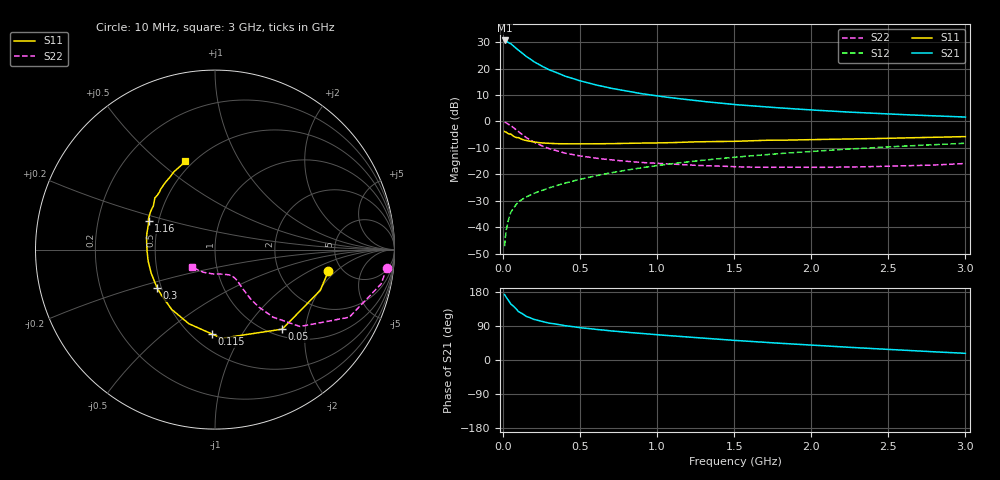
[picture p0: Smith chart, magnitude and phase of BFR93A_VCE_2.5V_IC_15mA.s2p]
! Infineon Technologies  Discrete & RF Semiconductors
! BFR93A
! VCE =  2.5 V,  IC =  15 mA
! Common Emitter S-Parameters:  Nov 2015
# GHz  S  MA  R  50
!  f  S11  S21  S12  S22
! GHz  MAG  ANG  MAG  ANG  MAG  ANG  MAG  ANG
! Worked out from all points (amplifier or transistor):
!   180 points, 10 MHz to 3 GHz, reference 50 ohm
!   highest |S21| = 30.6 dB at 10 MHz (marker M1)
!   |S21| within 3 dB of that: start of sweep to 85.5 MHz
!   unconditionally stable (mu >= 1): 471.2 MHz to 2.986 GHz
!   at 160 MHz: K = 0.63, MSG = 26.2 dB, |S12| = -28.2 dB
!   at 1.22 GHz: K = 1.09, MAG = 9.8 dB, |S12| = -15.1 dB
!   at 3 GHz: K = 1.00, MSG = 5.0 dB, |S12| = -8.3 dB
!   S11 on the Smith chart (normalised r, x): 10 MHz: 3.92, -1.59; 50 MHz: 1.13, -1.51; 115 MHz: 0.62, -0.75; 300 MHz: 0.47, -0.24; 1.16 GHz: 0.44, +0.17; 3 GHz: 0.46, +0.61
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0.01  0.6431 -10.7  33.91 172.7  0.0044 84.7  0.9638 -6.0
0.02  0.6291 -21.1  33.18 165.8  0.0086 80.8  0.9449 -11.7
0.05  0.5803 -49.8  29.44 147.8  0.0191 69.9  0.8381 -26.7
0.1  0.4955 -85.8  22.26 127.6  0.0303 60.6  0.639 -42.1
0.115  0.4701 -92.2  20.58 124.5  0.0324 59.6  0.5955 -43.9
0.15  0.4379 -109.5  16.95 115.1  0.0374 57.8  0.4969 -49.3
0.2  0.4114 -125.9  13.49 107.3  0.0437 58.2  0.4069 -52.5
0.24  0.396 -135.4  11.58 102.8  0.0483 59.0  0.3586 -53.7
0.26  0.3918 -139.6  10.78 100.8  0.0507 59.5  0.3384 -54.2
0.3  0.3867 -146.4  9.441 97.3  0.0556 60.5  0.3057 -54.5
0.4  0.379 -159.9  7.208 90.6  0.068 62.7  0.2527 -54.7
0.5  0.3778 -170.0  5.851 85.3  0.0807 63.8  0.2228 -54.4
0.52  0.3774 -171.5  5.663 84.5  0.0833 64.0  0.2187 -54.5
0.6  0.3785 -177.4  4.921 80.9  0.0937 64.5  0.2021 -54.7
0.7  0.3808 176.7  4.246 76.8  0.1071 64.7  0.1879 -55.6
0.82  0.3872 170.4  3.662 72.6  0.1228 64.4  0.1748 -57.2
1.02  0.3938 161.5  2.98 66.0  0.149 63.2  0.1606 -61.3
1.16  0.4041 156.4  2.657 61.8  0.1674 62.1  0.1527 -65.3
1.52  0.4223 144.3  2.067 51.3  0.2129 58.6  0.1391 -77.7
2.02  0.4544 131.1  1.637 38.9  0.2741 52.8  0.1357 -98.2
2.52  0.483 119.7  1.377 27.6  0.3332 46.4  0.143 -120.2
3  0.5179 108.6  1.211 17.6  0.3868 40.1  0.1607 -143.3
